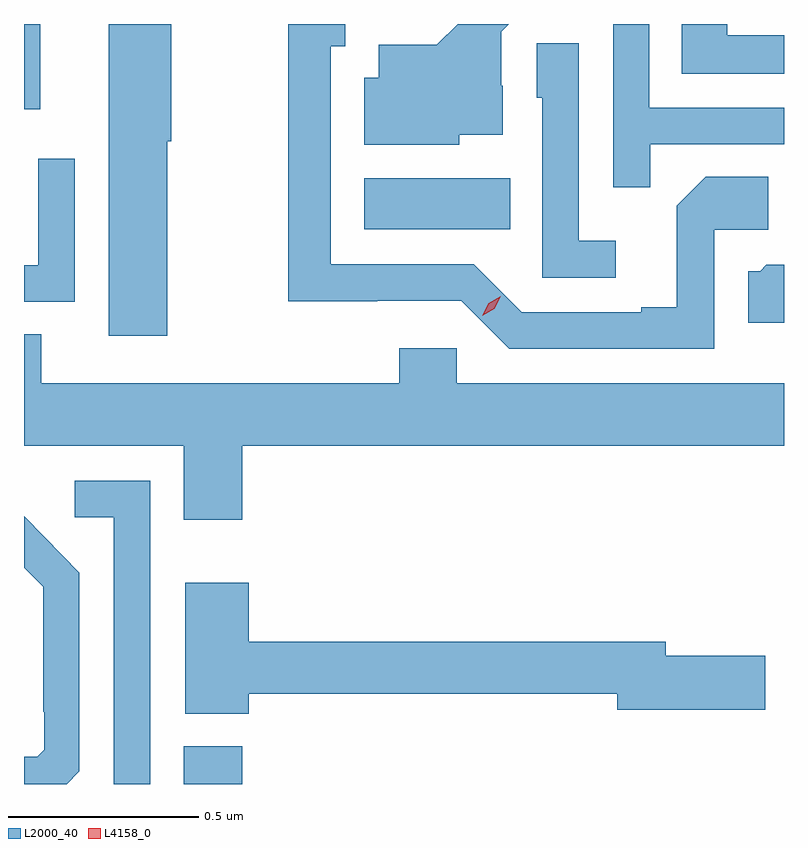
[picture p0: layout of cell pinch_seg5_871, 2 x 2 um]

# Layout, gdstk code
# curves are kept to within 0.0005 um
import gdstk
lib = gdstk.Library(unit=1e-6, precision=1e-09)
def R(c, l, rs):  # rectangles x0, y0, x1, y1
    for r in rs: c.add(gdstk.rectangle(r[:2], r[2:], *l))
def P(c, l, *ps):  # polygons
    for p in ps: c.add(gdstk.Polygon(p, *l))
L2000_40 = (2000, 40)
L4158_0 = (4158, 0)

pinch_seg5_871 = lib.new_cell('pinch_seg5_871')
R(pinch_seg5_871, L2000_40, [(804.008,893.166,804.161,893.266), (804.482,894.626,804.866,894.76), (803.587,894.942,803.63,895.166)])
P(pinch_seg5_871, L2000_40, [(804.732,894.875),(804.847,894.875),(804.847,895.004),(804.843,895.004),(804.843,895.146),(804.863,895.166),(804.729,895.166),(804.673,895.111),(804.521,895.111),(804.521,895.024),(804.482,895.024),(804.482,894.848),(804.732,894.848)],
  [(805.235,894.849),(805.587,894.849),(805.587,894.945),(805.233,894.945),(805.233,895.166),(805.137,895.166),(805.137,894.736),(805.235,894.736)],
  [(803.964,894.858),(803.974,894.858),(803.974,895.166),(803.81,895.166),(803.81,894.345),(803.964,894.345)],
  [(805.404,894.624),(805.546,894.624),(805.546,894.764),(805.381,894.764),(805.305,894.688),(805.305,894.421),(805.211,894.421),(805.211,894.408),(804.897,894.408),(804.771,894.534),(804.394,894.534),(804.394,895.107),(804.433,895.107),(804.433,895.166),(804.283,895.166),(804.283,894.437),(804.516,894.437),(804.516,894.438),(804.738,894.438),(804.864,894.312),(805.404,894.312)],
  [(805.587,895.136),(805.437,895.136),(805.437,895.166),(805.318,895.166),(805.318,895.035),(805.587,895.035)],
  [(805.144,894.595),(805.047,894.595),(805.047,895.115),(804.936,895.115),(804.936,894.972),(804.951,894.972),(804.951,894.498),(805.144,894.498)],
  [(803.721,894.811),(803.625,894.811),(803.625,894.531),(803.587,894.531),(803.587,894.435),(803.721,894.435)],
  [(805.587,894.532),(805.54,894.532),(805.524,894.516),(805.493,894.516),(805.493,894.38),(805.587,894.38)],
  [(804.161,894.056),(805.587,894.056),(805.587,894.22),(804.726,894.22),(804.726,894.313),(804.575,894.313),(804.575,894.22),(803.632,894.22),(803.632,894.35),(803.587,894.35),(803.587,894.056),(804.008,894.056),(804.008,893.862),(804.161,893.862)],
  [(803.919,893.964),(803.721,893.964),(803.721,893.868),(803.823,893.868),(803.823,893.166),(803.919,893.166)],
  [(803.733,893.2),(803.733,893.722),(803.587,893.87),(803.587,893.735),(803.637,893.685),(803.637,893.356),(803.64,893.356),(803.64,893.256),(803.622,893.238),(803.587,893.238),(803.587,893.166),(803.699,893.166)],
  [(804.178,893.404),(805.148,893.404),(805.148,893.362),(805.537,893.362),(805.537,893.504),(805.276,893.504),(805.276,893.54),(804.178,893.54),(804.178,893.695),(804.011,893.695),(804.011,893.351),(804.178,893.351)])
P(pinch_seg5_871, L4158_0, [(804.793,894.398),(804.793,894.398),(804.81,894.431),(804.841,894.45),(804.842,894.45),(804.842,894.449),(804.824,894.417),(804.793,894.398)])

lib.write_gds('pinch_seg5_871.gds')
